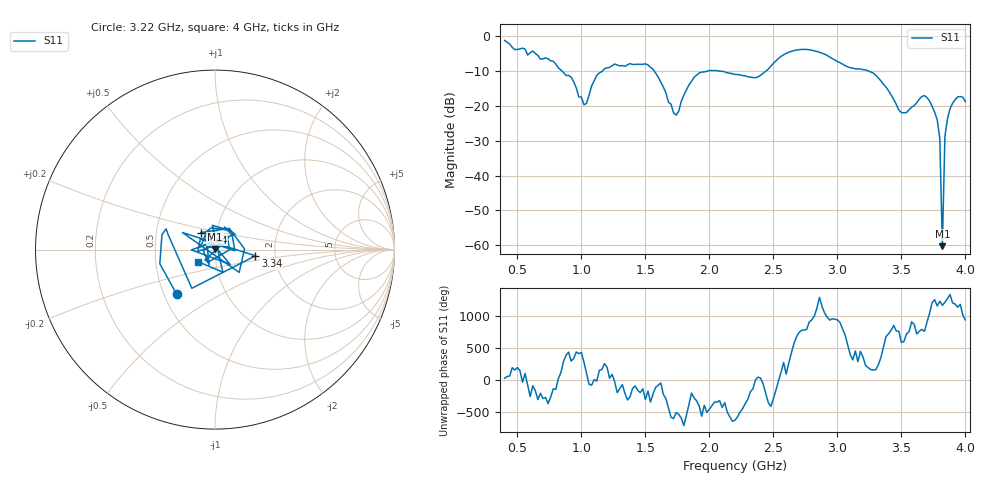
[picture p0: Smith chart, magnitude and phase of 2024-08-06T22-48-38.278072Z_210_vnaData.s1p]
!Created with skrf (http://scikit-rf.org).
# Hz S RI R 50.0
!freq ReS11 ImS11
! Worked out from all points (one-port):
!   181 points, 400 MHz to 4 GHz, reference 50 ohm
!   lowest |S11| = -60.3 dB at 3.82 GHz (marker M1), VSWR 1.00, Z = 50 + j0.0958 ohm
!   |S11| at or under -10 dB: 1.569 GHz to 1.986 GHz (417.6 MHz wide, 23.5 % of centre); 2.075 GHz to 2.442 GHz (366.9 MHz wide, 16.2 % of centre); 3.242 GHz to end of sweep (the widest 3 of 4)
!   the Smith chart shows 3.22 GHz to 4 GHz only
!   S11 on the Smith chart (normalised r, x): 3.22 GHz: 0.58, -0.33; 3.34 GHz: 1.58, -0.11; 3.44 GHz: 0.84, +0.16; 4 GHz: 0.82, -0.11
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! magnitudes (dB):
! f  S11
! 400 MHz  -1.2
! 860 MHz  -10.4
! 920 MHz  -11.7
! 1.02 GHz  -19.7
! 1.12 GHz  -11.3
! 1.3 GHz  -8.5
! 1.52 GHz  -8.3
! 1.72 GHz  -22.0
! 1.76 GHz  -21.6
! 1.84 GHz  -14.0
! 1.92 GHz  -10.6
! 2.2 GHz  -11.0
! 2.38 GHz  -11.7
! 2.66 GHz  -4.1
! 3.1 GHz  -9.1
! 3.22 GHz  -9.7
! 3.34 GHz  -12.8
! 3.44 GHz  -18.1
! 3.5 GHz  -21.9
! 3.56 GHz  -21.1
! 3.68 GHz  -17.1
! 3.78 GHz  -24.0
! 3.8 GHz  -29.3
! 3.82 GHz  -60.3
! 3.84 GHz  -28.8
! 3.86 GHz  -23.7
! 3.94 GHz  -17.4
! 4 GHz  -18.8
